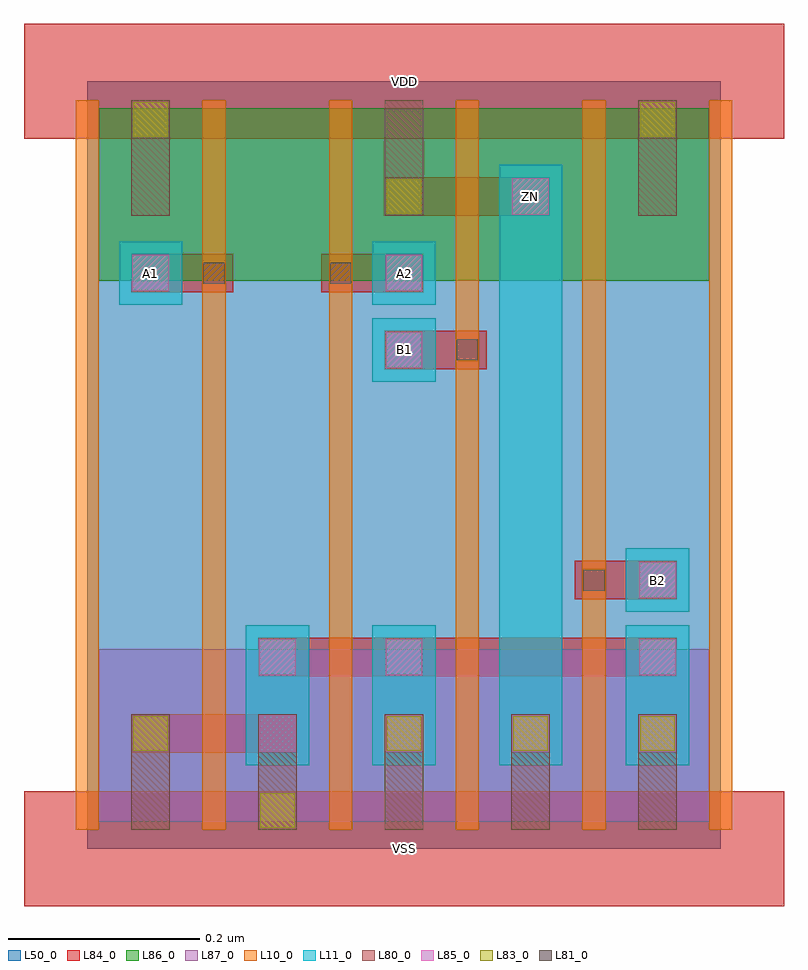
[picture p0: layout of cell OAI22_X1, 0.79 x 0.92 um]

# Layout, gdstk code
import gdstk
lib = gdstk.Library(unit=1e-6, precision=1e-09)
def R(c, l, rs):  # rectangles x0, y0, x1, y1
    for r in rs: c.add(gdstk.rectangle(r[:2], r[2:], *l))
def A(c, l, x, y, w, h, nx, ny, dx, dy):  # array of equal rectangles
    R(c, l, [(x+i*dx, y+j*dy, x+i*dx+w, y+j*dy+h) for i in range(nx) for j in range(ny)])
L10_0 = (10, 0)
L11_0 = (11, 0)
L50_0 = (50, 0)
L80_0 = (80, 0)
L81_0 = (81, 0)
L83_0 = (83, 0)
L84_0 = (84, 0)
L85_0 = (85, 0)
L86_0 = (86, 0)
L87_0 = (87, 0)

oai22_x1 = lib.new_cell('OAI22_X1')
A(oai22_x1, L10_0, -0.012, 0.02, 0.024, 0.76, 6, 1, 0.132, 0)
R(oai22_x1, L11_0, [(0.165,0.087,0.231,0.233), (0.297,0.087,0.363,0.233), (0.429,0.087,0.495,0.713), (0.561,0.087,0.627,0.233), (0.561,0.247,0.627,0.313), (0.297,0.487,0.363,0.553), (0.033,0.567,0.099,0.633), (0.297,0.567,0.363,0.633)])
R(oai22_x1, L50_0, [(0,0,0.66,0.8)])
A(oai22_x1, L80_0, 0.046, 0.02, 0.04, 0.12, 5, 1, 0.132, 0)
A(oai22_x1, L80_0, 0.046, 0.66, 0.04, 0.12, 3, 1, 0.264, 0)
R(oai22_x1, L81_0, [(0.517,0.269,0.539,0.291), (0.385,0.509,0.407,0.531), (0.121,0.589,0.143,0.611), (0.253,0.589,0.275,0.611)])
A(oai22_x1, L83_0, 0.312, 0.102, 0.036, 0.036, 3, 1, 0.132, 0)
R(oai22_x1, L83_0, [(0.18,0.022,0.216,0.058), (0.048,0.102,0.084,0.138), (0.312,0.662,0.348,0.698), (0.048,0.742,0.084,0.778), (0.576,0.742,0.612,0.778)])
A(oai22_x1, L84_0, 0.31, 0.1, 0.04, 0.04, 3, 1, 0.132, 0)
R(oai22_x1, L84_0, [(-0.066,-0.06,0.726,0.06), (0.046,0.1,0.218,0.14), (0.178,0.18,0.614,0.22), (0.508,0.26,0.614,0.3), (0.31,0.5,0.416,0.54), (0.046,0.58,0.152,0.62), (0.244,0.58,0.35,0.62), (0.31,0.66,0.482,0.7), (-0.066,0.74,0.726,0.86)])
A(oai22_x1, L85_0, 0.179, 0.101, 0.038, 0.038, 4, 1, 0.132, 0)
R(oai22_x1, L85_0, [(0.179,0.181,0.217,0.219), (0.311,0.181,0.349,0.219), (0.575,0.181,0.613,0.219), (0.575,0.261,0.613,0.299), (0.311,0.501,0.349,0.539), (0.047,0.581,0.085,0.619), (0.311,0.581,0.349,0.619), (0.443,0.661,0.481,0.699)])
R(oai22_x1, L86_0, [(0.012,0.592,0.648,0.772)])
R(oai22_x1, L87_0, [(0.012,0.028,0.648,0.208)])
oai22_x1.add(gdstk.Label('VDD', (0.33,0.8), layer=88, texttype=0))
oai22_x1.add(gdstk.Label('VSS', (0.33,0), layer=88, texttype=0))
oai22_x1.add(gdstk.Label('ZN', (0.462,0.68), layer=31, texttype=0))
oai22_x1.add(gdstk.Label('B1', (0.33,0.52), layer=31, texttype=0))
oai22_x1.add(gdstk.Label('A1', (0.066,0.6), layer=31, texttype=0))
oai22_x1.add(gdstk.Label('A2', (0.33,0.6), layer=31, texttype=0))
oai22_x1.add(gdstk.Label('B2', (0.594,0.28), layer=31, texttype=0))

lib.write_gds('OAI22_X1.gds')
